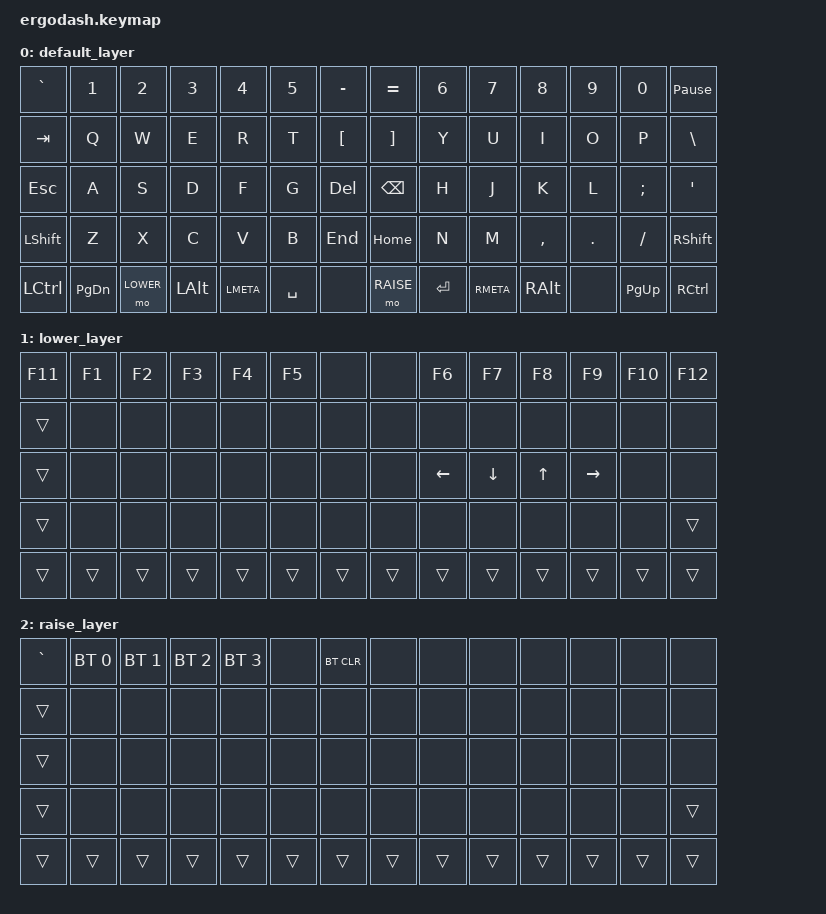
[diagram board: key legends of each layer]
/*
 * Copyright (c) 2020 The ZMK Contributors
 *
 * SPDX-License-Identifier: MIT
 */

#include <behaviors.dtsi>
#include <dt-bindings/zmk/keys.h>
#include <dt-bindings/zmk/bt.h>

#define DEFAULT 0
#define LOWER   1
#define RAISE   2


/ {
        keymap {
                compatible = "zmk,keymap";

                default_layer {
/* QWERTY
 * .----------------------------------------------------------------------------------------------------------------------.
 * |  `   |   1  |   2  |   3  |   4  |   5  |  -   |                    |  =   |   6  |   7  |   8  |   9  |   0  | pause_break |
 * |------+------+------+------+------+------+------+--------------------+------+------+------+------+------+------+------|
 * | Tab  |   Q  |   W  |   E  |   R  |   T  |  [   |                    |   ]  |   Y  |   U  |   I  |   O  |   P  |  \   |
 * |------+------+------+------+------+------+------+--------------------+------+------+------+------+------+------+------|
 * | ESC  |   A  |   S  |   D  |   F  |   G  | Del  |                    | Bksp |   H  |   J  |   K  |   L  |   ;  |  '   |
 * |------+------+------+------+------+------+---------------------------+------+------+------+------+------+------+------|
 * | Shift|   Z  |   X  |   C  |   V  |   B  | End  |                    | Home |   N  |   M  |   ,  |   .  |   /  | Shift|
 * |-------------+------+------+------+------+------+------+------+------+------+------+------+------+------+-------------|
 * | Ctrl | PGDN | Lower| Alt  | Win  | Space|      ||||||||||||||||||||| Raise | Enter| RAlt |  Alt  |      |  PGUP | RCtrl|
 * .----------------------------------------------------------------------------------------------------------------------.
 */
                        bindings = <
&kp  GRAVE    &kp  N1       &kp  N2       &kp  N3       &kp  N4       &kp  N5       &kp  MINUS              &kp  EQUAL     &kp  N6       &kp  N7       &kp  N8       &kp  N9       &kp  N0       &kp  PAUSE_BREAK
&kp  TAB      &kp  Q        &kp  W        &kp  E        &kp  R        &kp  T        &kp  LBKT             &kp  RBKT   &kp  Y        &kp  U        &kp  I        &kp  O        &kp  P        &kp  BSLH
&kp  ESC      &kp  A        &kp  S        &kp  D        &kp  F        &kp  G        &kp  DEL               &kp  BSPC     &kp  H        &kp  J        &kp  K        &kp  L        &kp  SEMI     &kp  SQT
&kp  LSHFT    &kp  Z        &kp  X        &kp  C        &kp  V        &kp  B        &kp  END               &kp  HOME     &kp  N        &kp  M        &kp  COMMA    &kp  DOT      &kp  SLASH    &kp  RSHFT
&kp  LCTRL    &kp PG_DN         &mo LOWER      &kp LALT    &kp  LMETA     &kp  SPACE    &none             &mo RAISE    &kp  RET      &kp RMETA     &kp  RALT     &none    &kp  PG_UP      &kp  RCTRL
                        >;
                };

                lower_layer {
/* .----------------------------------------------------------------------------------------------------------------------.
 * |  F11 |  F1  |  F2  |  F3  |  F4  |  F5  |      |                    |      |  F6  |  F7  |  F8  |  F9  |  F10 |  F12 |
 * |------+------+------+------+------+------+------+--------------------+------+------+------+------+------+------+------|
 * |      |      |      |      |      |      |      |                    |      |      |      |      |      |      |       |
 * |------+------+------+------+------+------+------+--------------------+------+------+------+------+------+------+------|
 * |      |      |      |      |      |      |      |                    |      |  <-  |   v   |  ^   |  ->   |      |     |
 * |------+------+------+------+------+------+---------------------------+------+------+------+------+------+------+------|
 * | Shift|      |      |      |      |      |      |                    |      |      |      |      |      |      | Shift|
 * |-------------+------+------+------+------+------+------+------+------+------+------+------+------+------+-------------|
 * | Ctrl | PGDN |      | Alt  | Win  | Space| Lower||||||||||||||||||| Raise| Enter| RAlt |  Alt  |       |  PGUP | RCtrl|
 * .----------------------------------------------------------------------------------------------------------------------.
 */
                        bindings = <
&kp  F11      &kp  F1       &kp  F2       &kp  F3       &kp  F4       &kp  F5       &none                  &none         &kp  F6       &kp  F7       &kp  F8       &kp  F9       &kp  F10      &kp  F12
&trans         &none         &none         &none         &none         &none         &none                  &none         &none         &none         &none         &none         &none         &none
&trans         &none         &none         &none         &none         &none         &none                  &none         &kp LEFT      &kp DOWN        &kp UP   &kp RIGHT         &none         &none
&trans        &none         &none        &none         &none         &none         &none                  &none         &none         &none         &none         &none         &none         &trans
&trans        &trans         &trans         &trans        &trans        &trans         &trans                 &trans        &trans         &trans        &trans         &trans         &trans         &trans
                        >;
                };
                raise_layer {
/* .----------------------------------------------------------------------------------------------------------------------.
 * |      | BT 0 | BT 1 | BT 2 | BT 3 |      | BTCL |                    |      |      |      |      |      |      |      |
 * |------+------+------+------+------+------+------+--------------------+------+------+------+------+------+------+------|
 * |      |      |      |      |      |      |      |                    |      |      |      |      |      |      |      |
 * |------+------+------+------+------+------+------+--------------------+------+------+------+------+------+------+------|
 * |      |      |      |      |      |      |      |                    |      |      |      |      |      |      |      |
 * |------+------+------+------+------+------+---------------------------+------+------+------+------+------+------+------|
 * | Shift|      |      |      |      |      |      |                    |      |      |      |      |     |        | Shift|
 * |-------------+------+------+------+------+------+------+------+------+------+------+------+------+------+-------------|
 * | Ctrl | PGDN |      | Alt  | Win  | Space| Lower||||||||||||||||||| Raise| Enter| RAlt |  Alt  |       |  PGUP | RCtrl|
 * .----------------------------------------------------------------------------------------------------------------------.
 */ 
                        bindings = <
&kp GRAVE         &bt BT_SEL 0  &bt BT_SEL 1  &bt BT_SEL 2  &bt BT_SEL 3  &none         &bt BT_CLR             &none         &none         &none         &none         &none         &none         &none
&trans         &none         &none         &none         &none         &none         &none                  &none         &none         &none         &none         &none         &none         &none
&trans         &none         &none         &none         &none         &none         &none                  &none         &none         &none         &none         &none         &none         &none
&trans        &none         &none         &none         &none         &none         &none                  &none         &none         &none         &none         &none        &none        &trans
&trans        &trans         &trans         &trans        &trans        &trans         &trans                 &trans        &trans         &trans        &trans         &trans         &trans         &trans


                        >;
                };
        };
};

